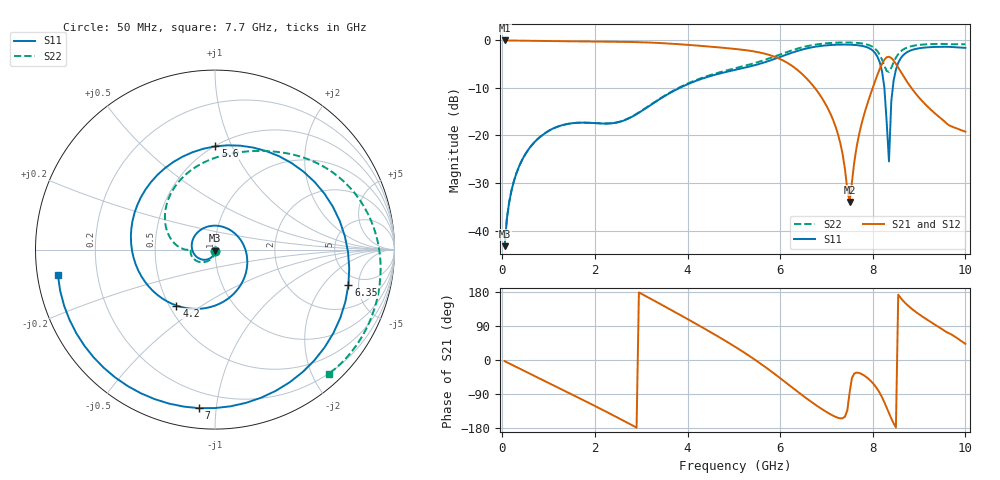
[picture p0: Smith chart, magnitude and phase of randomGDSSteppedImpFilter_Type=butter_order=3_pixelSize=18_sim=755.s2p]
! freq	dB(S11)	phase(S11)	dB(S12)	phase(S12)
!  dB(S21)	phase(S21)	dB(S22)	phase(S22)
!S-par simulation data
#  GHz  S  DB  R 50
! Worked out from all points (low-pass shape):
!   200 points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, 50 MHz to 10 GHz, reference 50 ohm
!   highest |S21| = -0.01 dB at 50 MHz (marker M1); lowest = -34.0 dB at 7.5 GHz (marker M2)
!   |S21| within 3 dB of the highest: start of sweep to 5.749 GHz
!   lowest |S11| = -43.3 dB at 50 MHz (marker M3), VSWR 1.01, Z = 50 - j0.685 ohm
!   |S11| at or under -10 dB: start of sweep to 3.827 GHz; 8.251 GHz to 8.432 GHz (181.4 MHz wide, 2.17 % of centre)
!   |S22| runs from -43.3 to -0.4 dB; largest |S21 - S12| = 0
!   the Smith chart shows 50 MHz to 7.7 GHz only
!   S11 on the Smith chart (normalised r, x): 50 MHz: 1.00, -0.01; 4.2 GHz: 0.54, -0.40; 5.6 GHz: 0.50, +0.87; 6.35 GHz: 3.87, -3.77; 7 GHz: 0.11, -0.90; 7.7 GHz: 0.06, -0.08
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0.05  -43.28 -91.6  -0.01 -3.1  -0.01 -3.1  -43.27 -89.8
0.2  -31.53 -103.0  -0.02 -12.2  -0.02 -12.2  -31.51 -100.0
0.5  -23.89 -124.5  -0.06 -30.3  -0.06 -30.3  -23.91 -116.7
1.75  -17.29 138.5  -0.21 -105.9  -0.21 -105.9  -17.29 -172.0
2.65  -16.76 33.4  -0.30 -162.3  -0.30 -162.3  -16.70 -179.6
3.4  -12.35 -52.7  -0.55 148.5  -0.55 148.5  -12.25 168.2
4.2  -8.44 -124.5  -1.08 94.3  -1.08 94.3  -8.27 131.9
5.05  -6.15 155.6  -1.82 33.2  -1.82 33.2  -5.79 89.4
5.6  -4.80 89.8  -2.63 -11.5  -2.63 -11.5  -4.31 64.6
5.95  -3.65 41.4  -3.70 -43.2  -3.70 -43.2  -3.13 48.4
6.35  -2.28 -15.0  -6.03 -81.1  -6.03 -81.1  -1.79 27.5
6.7  -1.43 -60.6  -9.40 -112.9  -9.40 -112.9  -0.98 7.7
7  -1.03 -95.7  -13.75 -137.2  -13.75 -137.2  -0.60 -9.2
7.5  -0.89 -148.9  -34.00 -85.9  -34.00 -85.9  -0.44 -36.3
7.7  -1.04 -170.7  -19.96 -34.0  -19.96 -34.0  -0.55 -47.5
8.15  -4.59 118.6  -6.01 -86.8  -6.01 -86.8  -3.00 -77.5
8.25  -9.91 90.4  -4.07 -111.5  -4.07 -111.5  -5.31 -77.8
8.35  -25.46 -106.0  -3.43 -140.5  -3.43 -140.5  -6.61 -60.1
8.4  -12.77 -131.2  -3.69 -154.4  -3.69 -154.4  -5.76 -51.9
8.6  -3.80 -178.9  -6.54 164.2  -6.54 164.2  -2.35 -54.5
9.25  -1.41 104.2  -14.54 100.4  -14.54 100.4  -0.77 -87.1
10  -1.57 33.9  -19.20 42.6  -19.20 42.6  -0.82 -116.5
